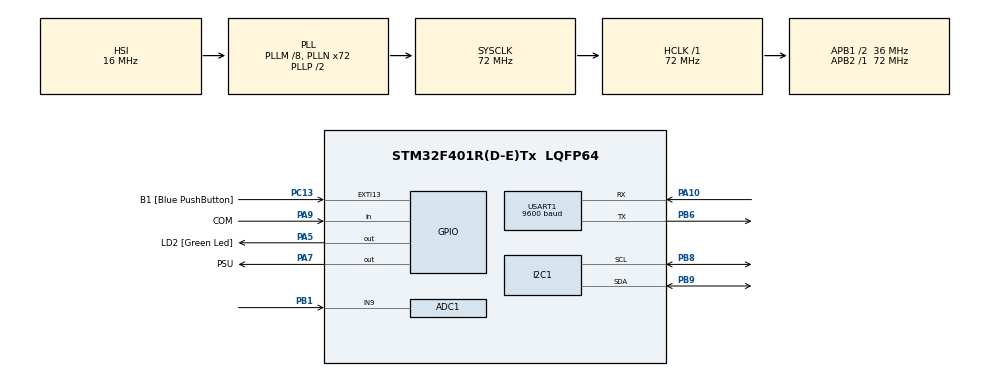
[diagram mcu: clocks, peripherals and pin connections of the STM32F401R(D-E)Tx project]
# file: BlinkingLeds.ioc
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ADC1.Channel-0\#ChannelRegularConversion=ADC_CHANNEL_9
ADC1.ContinuousConvMode=ENABLE
ADC1.NbrOfConversion=1
ADC1.NbrOfConversionFlag=1
ADC1.Rank-0\#ChannelRegularConversion=1
ADC1.SamplingTime-0\#ChannelRegularConversion=ADC_SAMPLETIME_3CYCLES
ADC1.master=1
Mcu.Family=STM32F4
Mcu.Name=STM32F401R(D-E)Tx
Mcu.Package=LQFP64
NVIC.EXTI15_10_IRQn=true\:0\:0\:false\:false\:true\:true\:true\:true
NVIC.PriorityGroup=NVIC_PRIORITYGROUP_4
PA10.Mode=Asynchronous
PA10.Signal=USART1_RX
PA13.Mode=Serial_Wire
PA13.Signal=SYS_JTMS-SWDIO
PA14.Mode=Serial_Wire
PA14.Signal=SYS_JTCK-SWCLK
PA5.GPIO_Label=LD2 [Green Led]
PA5.GPIO_Speed=GPIO_SPEED_FREQ_HIGH
PA5.Signal=GPIO_Output
PA7.GPIO_Label=PSU
PA7.Signal=GPIO_Output
PA9.GPIO_Label=COM
PA9.Signal=GPIO_Input
PB1.Signal=ADCx_IN9
PB6.Mode=Asynchronous
PB6.Signal=USART1_TX
PB8.Mode=I2C
PB8.Signal=I2C1_SCL
PB9.Mode=I2C
PB9.Signal=I2C1_SDA
PC13-ANTI_TAMP.GPIO_Label=B1 [Blue PushButton]
PC13-ANTI_TAMP.GPIO_ModeDefaultEXTI=GPIO_MODE_IT_FALLING
PC13-ANTI_TAMP.Signal=GPXTI13
PH0\ -\ OSC_IN.Mode=HSE-External-Oscillator
PH0\ -\ OSC_IN.Signal=RCC_OSC_IN
PH1\ -\ OSC_OUT.Mode=HSE-External-Oscillator
PH1\ -\ OSC_OUT.Signal=RCC_OSC_OUT
ProjectManager.HeapSize=0x200
ProjectManager.StackSize=0x400
ProjectManager.TargetToolchain=STM32CubeIDE
RCC.48MHZClocksFreq_Value=36000000
RCC.AHBFreq_Value=72000000
RCC.APB1CLKDivider=RCC_HCLK_DIV2
RCC.APB1Freq_Value=36000000
RCC.APB1TimFreq_Value=72000000
RCC.APB2Freq_Value=72000000
RCC.APB2TimFreq_Value=72000000
RCC.CortexFreq_Value=72000000
RCC.HCLKFreq_Value=72000000
RCC.HSE_VALUE=25000000
RCC.HSI_VALUE=16000000
RCC.LSE_VALUE=32768
RCC.PLLM=8
RCC.PLLN=72
RCC.SYSCLKFreq_VALUE=72000000
RCC.SYSCLKSource=RCC_SYSCLKSOURCE_PLLCLK
RCC.VCOOutputFreq_Value=144000000
SH.ADCx_IN9.0=ADC1_IN9,IN9
USART1.BaudRate=9600
USART1.VirtualMode=VM_ASYNC
board=custom

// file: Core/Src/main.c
/* USER CODE BEGIN Header */
/**
  ******************************************************************************
  * @file           : main.c
  * @brief          : Main program body
  ******************************************************************************
  * @attention
  *
  * Copyright (c) 2024 STMicroelectronics.
  * All rights reserved.
  *
  * This software is licensed under terms that can be found in the LICENSE file
  * in the root directory of this software component.
  * If no LICENSE file comes with this software, it is provided AS-IS.
  *
  ******************************************************************************
  */
/* USER CODE END Header */
#include "main.h"

/* USER CODE BEGIN Includes */
#include <stdio.h>
#include <string.h>
#include "liquidcrystal_i2c.h"

/* USER CODE END Includes */

ADC_HandleTypeDef hadc1;

I2C_HandleTypeDef hi2c1;

UART_HandleTypeDef huart1;

/* USER CODE BEGIN PV */
uint16_t readValue = 0;
char charToTransmit[4];
char msg[20];
int moisturePercentage = 0;
const int maxValue = 4000;
const int minValue = 2000;

/* USER CODE END PV */

void SystemClock_Config(void);
static void MX_GPIO_Init(void);
static void MX_ADC1_Init(void);
static void MX_I2C1_Init(void);
static void MX_USART1_UART_Init(void);

int main(void)
{

  /* MCU Configuration--------------------------------------------------------*/

  /* Reset of all peripherals, Initializes the Flash interface and the Systick. */
  HAL_Init();

  /* Configure the system clock */
  SystemClock_Config();

  /* Initialize all configured peripherals */
  MX_GPIO_Init();
  MX_ADC1_Init();
  MX_I2C1_Init();
  MX_USART1_UART_Init();
  /* USER CODE BEGIN 2 */
  HD44780_Init(2);
  HD44780_Backlight();
  HD44780_Clear();
  HD44780_SetCursor(0,0);
  HD44780_PrintStr("Plant Automation");
  HAL_Delay(500);
  HD44780_Clear();
  HD44780_PrintStr("Receiver");
  HD44780_SetCursor(0,1);
  HD44780_PrintStr("Booting up...");
  HAL_Delay(1200);
  HD44780_Clear();

  /* USER CODE END 2 */

  /* Infinite loop */
  while (1)
  {

    /* USER CODE BEGIN 3 */
	 HAL_ADC_Start(&hadc1);

	// Gives power to moisture sensor (via VCC)

	HAL_GPIO_WritePin(GPIOA, GPIO_PIN_7, 1);
	HAL_Delay(150);

	// updates readValue with moisture data
	HAL_ADC_PollForConversion(&hadc1,1000);
	readValue = HAL_ADC_GetValue(&hadc1);

    moisturePercentage = (readValue - maxValue) * 100 / (minValue - maxValue);
	HAL_UART_Transmit(&huart1, (uint8_t *)charToTransmit, sizeof(charToTransmit), 100);
	HAL_Delay(500);

    // Ensure percentage is within the 0% to 100% range
    if (moisturePercentage < 0) {
    	moisturePercentage = 0;
    } else if (moisturePercentage > 100) {
    	moisturePercentage = 100;
    }

	sprintf(msg, "Moisture: %d%% \r\n", moisturePercentage);
	sprintf(charToTransmit, "%d", moisturePercentage);

	HD44780_Clear();
	HD44780_SetCursor(0,1);
    HD44780_PrintStr(msg);  // Display on the LCD

	HAL_UART_Transmit(&huart1, (uint8_t *)charToTransmit, sizeof(charToTransmit), HAL_MAX_DELAY);
	HAL_Delay(500);
//   if (command==1) {
//	   HAL_GPIO_WritePin(LD2_GPIO_Port, LD2_Pin, GPIO_PIN_RESET);
//    }
//   else {
//	   HAL_GPIO_WritePin(LD2_GPIO_Port, LD2_Pin, GPIO_PIN_SET);
//    }

	// Disables power from moisture sensor
	HAL_GPIO_WritePin(GPIOA, GPIO_PIN_7, 0);

	// if readValue, the moisture data indicates a lot of water
	if(readValue < 2700) {
		HD44780_SetCursor(0, 0);
	    HD44780_PrintStr("Too much water!");
		HAL_GPIO_WritePin(LD2_GPIO_Port, LD2_Pin, GPIO_PIN_SET);
	    HAL_Delay(500);
	}
	else {
		HAL_GPIO_WritePin(LD2_GPIO_Port, LD2_Pin, GPIO_PIN_RESET);

	}

//	pin = HAL_GPIO_ReadPin(B1_GPIO_Port, B1_Pin);
//
//	if (pin==1) {
//		HAL_GPIO_WritePin(LD2_GPIO_Port, LD2_Pin, GPIO_PIN_RESET);
//	}
//	else {
//		HAL_GPIO_WritePin(LD2_GPIO_Port, LD2_Pin, GPIO_PIN_SET);
//	}

	// TODO: Make this into an interrupt
	// Blue Button Push -> Green LED

/*	HAL_Delay(1000);

	HAL_Delay(1000);*/

  }
  /* USER CODE END 3 */
}

void SystemClock_Config(void)
{
  RCC_OscInitTypeDef RCC_OscInitStruct = {0};
  RCC_ClkInitTypeDef RCC_ClkInitStruct = {0};

  /** Configure the main internal regulator output voltage
  */
  __HAL_RCC_PWR_CLK_ENABLE();
  __HAL_PWR_VOLTAGESCALING_CONFIG(PWR_REGULATOR_VOLTAGE_SCALE2);

  /** Initializes the RCC Oscillators according to the specified parameters
  * in the RCC_OscInitTypeDef structure.
  */
  RCC_OscInitStruct.OscillatorType = RCC_OSCILLATORTYPE_HSI;
  RCC_OscInitStruct.HSIState = RCC_HSI_ON;
  RCC_OscInitStruct.HSICalibrationValue = RCC_HSICALIBRATION_DEFAULT;
  RCC_OscInitStruct.PLL.PLLState = RCC_PLL_ON;
  RCC_OscInitStruct.PLL.PLLSource = RCC_PLLSOURCE_HSI;
  RCC_OscInitStruct.PLL.PLLM = 8;
  RCC_OscInitStruct.PLL.PLLN = 72;
  RCC_OscInitStruct.PLL.PLLP = RCC_PLLP_DIV2;
  RCC_OscInitStruct.PLL.PLLQ = 4;
  if (HAL_RCC_OscConfig(&RCC_OscInitStruct) != HAL_OK)
  {
    Error_Handler();
  }

  /** Initializes the CPU, AHB and APB buses clocks
  */
  RCC_ClkInitStruct.ClockType = RCC_CLOCKTYPE_HCLK|RCC_CLOCKTYPE_SYSCLK
                              |RCC_CLOCKTYPE_PCLK1|RCC_CLOCKTYPE_PCLK2;
  RCC_ClkInitStruct.SYSCLKSource = RCC_SYSCLKSOURCE_PLLCLK;
  RCC_ClkInitStruct.AHBCLKDivider = RCC_SYSCLK_DIV1;
  RCC_ClkInitStruct.APB1CLKDivider = RCC_HCLK_DIV2;
  RCC_ClkInitStruct.APB2CLKDivider = RCC_HCLK_DIV1;

  if (HAL_RCC_ClockConfig(&RCC_ClkInitStruct, FLASH_LATENCY_2) != HAL_OK)
  {
    Error_Handler();
  }
}

static void MX_ADC1_Init(void)
{

  ADC_ChannelConfTypeDef sConfig = {0};

  /** Configure the global features of the ADC (Clock, Resolution, Data Alignment and number of conversion)
  */
  hadc1.Instance = ADC1;
  hadc1.Init.ClockPrescaler = ADC_CLOCK_SYNC_PCLK_DIV2;
  hadc1.Init.Resolution = ADC_RESOLUTION_12B;
  hadc1.Init.ScanConvMode = DISABLE;
  hadc1.Init.ContinuousConvMode = ENABLE;
  hadc1.Init.DiscontinuousConvMode = DISABLE;
  hadc1.Init.ExternalTrigConvEdge = ADC_EXTERNALTRIGCONVEDGE_NONE;
  hadc1.Init.ExternalTrigConv = ADC_SOFTWARE_START;
  hadc1.Init.DataAlign = ADC_DATAALIGN_RIGHT;
  hadc1.Init.NbrOfConversion = 1;
  hadc1.Init.DMAContinuousRequests = DISABLE;
  hadc1.Init.EOCSelection = ADC_EOC_SINGLE_CONV;
  if (HAL_ADC_Init(&hadc1) != HAL_OK)
  {
    Error_Handler();
  }

  /** Configure for the selected ADC regular channel its corresponding rank in the sequencer and its sample time.
  */
  sConfig.Channel = ADC_CHANNEL_9;
  sConfig.Rank = 1;
  sConfig.SamplingTime = ADC_SAMPLETIME_3CYCLES;
  if (HAL_ADC_ConfigChannel(&hadc1, &sConfig) != HAL_OK)
  {
    Error_Handler();
  }

}

static void MX_I2C1_Init(void)
{

  hi2c1.Instance = I2C1;
  hi2c1.Init.ClockSpeed = 100000;
  hi2c1.Init.DutyCycle = I2C_DUTYCYCLE_2;
  hi2c1.Init.OwnAddress1 = 0;
  hi2c1.Init.AddressingMode = I2C_ADDRESSINGMODE_7BIT;
  hi2c1.Init.DualAddressMode = I2C_DUALADDRESS_DISABLE;
  hi2c1.Init.OwnAddress2 = 0;
  hi2c1.Init.GeneralCallMode = I2C_GENERALCALL_DISABLE;
  hi2c1.Init.NoStretchMode = I2C_NOSTRETCH_DISABLE;
  if (HAL_I2C_Init(&hi2c1) != HAL_OK)
  {
    Error_Handler();
  }

}

static void MX_USART1_UART_Init(void)
{

  huart1.Instance = USART1;
  huart1.Init.BaudRate = 9600;
  huart1.Init.WordLength = UART_WORDLENGTH_8B;
  huart1.Init.StopBits = UART_STOPBITS_1;
  huart1.Init.Parity = UART_PARITY_NONE;
  huart1.Init.Mode = UART_MODE_TX_RX;
  huart1.Init.HwFlowCtl = UART_HWCONTROL_NONE;
  huart1.Init.OverSampling = UART_OVERSAMPLING_16;
  if (HAL_UART_Init(&huart1) != HAL_OK)
  {
    Error_Handler();
  }

}

static void MX_GPIO_Init(void)
{
  GPIO_InitTypeDef GPIO_InitStruct = {0};

  /* GPIO Ports Clock Enable */
  __HAL_RCC_GPIOC_CLK_ENABLE();
  __HAL_RCC_GPIOH_CLK_ENABLE();
  __HAL_RCC_GPIOA_CLK_ENABLE();
  __HAL_RCC_GPIOB_CLK_ENABLE();

  /*Configure GPIO pin Output Level */
  HAL_GPIO_WritePin(GPIOA, LD2_Pin|PSU_Pin, GPIO_PIN_RESET);

  /*Configure GPIO pin : B1_Pin */
  GPIO_InitStruct.Pin = B1_Pin;
  GPIO_InitStruct.Mode = GPIO_MODE_IT_FALLING;
  GPIO_InitStruct.Pull = GPIO_NOPULL;
  HAL_GPIO_Init(B1_GPIO_Port, &GPIO_InitStruct);

  /*Configure GPIO pin : LD2_Pin */
  GPIO_InitStruct.Pin = LD2_Pin;
  GPIO_InitStruct.Mode = GPIO_MODE_OUTPUT_PP;
  GPIO_InitStruct.Pull = GPIO_NOPULL;
  GPIO_InitStruct.Speed = GPIO_SPEED_FREQ_HIGH;
  HAL_GPIO_Init(LD2_GPIO_Port, &GPIO_InitStruct);

  /*Configure GPIO pin : PSU_Pin */
  GPIO_InitStruct.Pin = PSU_Pin;
  GPIO_InitStruct.Mode = GPIO_MODE_OUTPUT_PP;
  GPIO_InitStruct.Pull = GPIO_NOPULL;
  GPIO_InitStruct.Speed = GPIO_SPEED_FREQ_LOW;
  HAL_GPIO_Init(PSU_GPIO_Port, &GPIO_InitStruct);

  /*Configure GPIO pin : COM_Pin */
  GPIO_InitStruct.Pin = COM_Pin;
  GPIO_InitStruct.Mode = GPIO_MODE_INPUT;
  GPIO_InitStruct.Pull = GPIO_NOPULL;
  HAL_GPIO_Init(COM_GPIO_Port, &GPIO_InitStruct);

  /* EXTI interrupt init*/
  HAL_NVIC_SetPriority(EXTI15_10_IRQn, 0, 0);
  HAL_NVIC_EnableIRQ(EXTI15_10_IRQn);

}

void Error_Handler(void)
{
  __disable_irq();
  while (1)
  {
  }
}
